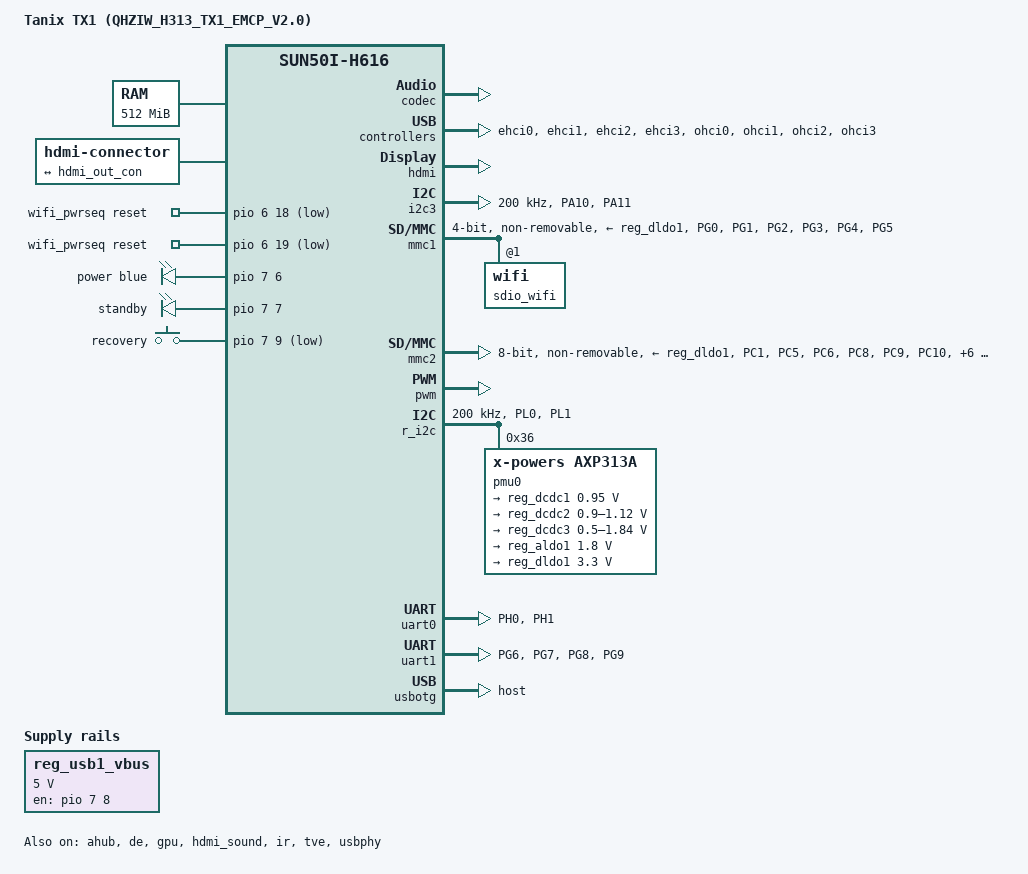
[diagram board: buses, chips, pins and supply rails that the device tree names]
/dts-v1/;

/*
 * Written by tools/dtcx/upstream.py from board.dts: a view, not edited.
 * Over torvalds/linux at c03c1a14507d.
 * Needs, beyond it, found by name and so best-effort: each
 * patch adding a name the tree uses or a dtsi change it keeps, which may in
 * turn need others before it:
 *   patches/linux-sunxi/0204-dt-bindings-display-allwinner-Add-DE33-planes.patch:
 *     "allwinner,sun50i-h616-de33-planes", allwinner,plane-mapping
 *   patches/linux-sunxi/0205-drm-sun4i-Add-DE33-shared-plane-driver.patch:
 *     "allwinner,sun50i-h616-de33-planes", allwinner,plane-mapping
 *   patches/linux-sunxi/0206-dt-bindings-display-allwinner-Split-H616-DE33-layer-.patch:
 *     allwinner,planes
 *   patches/linux-sunxi/0207-drm-sun4i-Switch-DE33-to-split-plane-bindings.patch:
 *     allwinner,planes
 *   patches/linux-sunxi/0208-dt-bindings-display-Add-H616-display-engine-compatib.patch:
 *     "allwinner,sun50i-a64-de2", "allwinner,sun50i-h616-de33",
 *     "allwinner,sun50i-h616-display-engine", "allwinner,sun50i-h616-tcon-tv",
 *     "allwinner,sun50i-h6-dw-hdmi", "allwinner,sun50i-h616-dw-hdmi",
 *     "allwinner,sun50i-h616-hdmi-phy", "allwinner,sun50i-h616-tcon-top"
 *   patches/linux-sunxi/0209-drm-sun4i-Add-support-for-H616-TCON-TOP.patch:
 *     "allwinner,sun50i-h616-tcon-top"
 *   patches/linux-sunxi/0211-drm-sun4i-Add-H616-TCON-TV-support.patch:
 *     "allwinner,sun50i-h616-tcon-tv"
 *   patches/linux-sunxi/0212-drm-sun4i-Add-support-for-H616-HDMI-PHY.patch:
 *     "allwinner,sun50i-h616-hdmi-phy"
 *   patches/linux-sunxi/0213-drm-sun4i-Add-compatible-for-H616-display-engine.patch:
 *     "allwinner,sun50i-h616-display-engine"
 *   patches/linux-sunxi/0237-dt-bindings-display-allwinner-Add-the-DE3-and-DE33-writeback.patch:
 *     "allwinner,sun50i-h616-de33-wb", allwinner,top
 *   patches/linux-sunxi/0238-clk-sunxi-ng-de2-Allow-H616-writeback-routing-regist.patch:
 *     "allwinner,sun50i-h616-de33-wb", allwinner,top
 *   patches/linux-sunxi/0406-drivers-staging-media-sunxi-cedrus-add-H616-variant.patch:
 *     "allwinner,sun50i-h616-video-engine"
 *   patches/linux-sunxi/0424-arm64-dts-allwinner-sun50i-h616-Add-video-engine.patch:
 *     /soc/video-codec@1c0e000
 *   patches/linux-sunxi/0426-media-sunxi-Add-Allwinner-DI300-deinterlace-driver.patch:
 *     "allwinner,sun50i-h616-deinterlace"
 *   patches/linux-sunxi/0435-arm64-dts-allwinner-h616-Add-deinterlace-node.patch:
 *     &deinterlace
 *   patches/linux-sunxi/0503-ASoC-sunxi-add-HDMI-audio-machine-driver.patch:
 *     "allwinner,sun8i-a83t-hdmi-audio"
 *   patches/linux-sunxi/0520-ASoC-sunxi-add-H616-audio-hub-driver.patch:
 *     "allwinner,sun50i-h616-ahub"
 *   patches/linux-sunxi/0700-arm64-dts-allwinner-h616-Add-display-pipeline.patch:
 *     &de, /soc/bus@1000000, &hdmi, &hdmi_out, &hdmi_phy, &tcon_top, &tcon_tv0, &tcon_tv1
 *   patches/linux-sunxi/0702-arm64-dts-allwinner-h616-Add-display-writeback.patch:
 *     &writeback, &planes iommus, &mixer0_out #address-cells, &mixer0_out #size-cells,
 *     &mixer0_out_tcon_top_mixer0, &mixer0_out_writeback, &mixer1_out #address-cells, &mixer1_out
 *     #size-cells, &mixer1_out_tcon_top_mixer1, &mixer1_out_writeback
 *   patches/linux-sunxi/0704-arm64-dts-allwinner-h616-add-audio-hub.patch:
 *     &ahub
 *   patches/linux-sunxi/0705-arm64-dts-allwinner-h616-add-HDMI-audio-topology.patch:
 *     &hdmi_sound, &hdmi #sound-dai-cells
 *   patches/linux-sunxi/0707-arm64-dts-allwinner-h616-Put-mixer-0-behind-the-IOMMU.patch:
 *     &mixer0 iommus
 *   patches/linux-sunxi/0713-pwm-sun20i-modify-for-h616-support.patch:
 *     "allwinner,sun50i-h616-pwm"
 *   patches/linux-sunxi/0714-arm64-dts-allwinner-h616-add-PWM-node.patch:
 *     &pwm
 *   patches/linux-sunxi/0723-arm64-dts-allwinner-h616-Describe-the-AC300-EPHY.patch:
 *     &ephy_config
 *   patches/linux-sunxi/0725-arm64-dts-allwinner-h616-Add-the-TV-encoder.patch:
 *     &tve_calibration, &tcon_tv1_out_tve, &tve
 *   patches/linux-sunxi/0092-watchdog-sunxi_wdt-Keep-the-watchdog-armed-through-system-sleep.patch:
 *     "allwinner,sun8i-a23-timer"
 *   patches/linux-sunxi/next/0043-dt-bindings-mmc-sunxi-Add-allwinner-sample-delay.patch:
 *     allwinner,sample-delay
 *   patches/linux-sunxi/next/0044-mmc-sunxi-take-a-sample-delay-from-the-device-tree.patch:
 *     allwinner,sample-delay
 *   patches/linux-sunxi/0086-dt-bindings-media-rc-Add-the-Tanix-TX1-V2-keymap.patch:
 *     "rc-tanix-tx1-v2"
 *   patches/linux-sunxi/0088-media-rc-keymaps-Add-the-Tanix-TX1-V2-remote.patch:
 *     "rc-tanix-tx1-v2"
 *   patches/linux-sunxi/0089-drm-sun4i-tv-Add-the-H616-TV-encoder.patch:
 *     "allwinner,sun50i-h616-tv-encoder"
 *   patches/linux-sunxi/next/0072-media-cedrus-Rework-the-driver-in-preparation-for-en.patch:
 *     "allwinner,sun50i-h616-video-engine"
 * Left out, the distribution's, not the board's:
 *   /reserved-memory/ramoops@7e000000
 */

#include "sun50i-h616.dtsi"
#include <dt-bindings/clock/sun50i-h616-ccu.h>
#include <dt-bindings/clock/sun6i-rtc.h>
#include <dt-bindings/gpio/gpio.h>
#include <dt-bindings/input/linux-event-codes.h>
#include <dt-bindings/leds/common.h>
#include <dt-bindings/thermal/thermal.h>

/ {
	model = "Tanix TX1 (QHZIW_H313_TX1_EMCP_V2.0)";
	/* board first; the SoC last, which sun50i-cpufreq-nvmem keys on */
	compatible = "tanix-tx1-v2,h313-tvbox", "allwinner,sun50i-h616";

	thermal-zones {
		cpu-thermal {
			cooling-maps {
				map0 {
					trip = <&cpu_target>;
					cooling-device = <&cpu0 THERMAL_NO_LIMIT THERMAL_NO_LIMIT>;
					contribution = <1024>;
				};

				map1 {
					trip = <&cpu_target>;
					cooling-device = <&gpu THERMAL_NO_LIMIT THERMAL_NO_LIMIT>;
					contribution = <1024>;
				};
			};
		};
	};

	/* ethernet0: U-Boot's stable Wi-Fi MAC */
	aliases {
		serial0 = &uart0;
		ethernet0 = &sdio_wifi;
		serial1 = &uart1;
		serial2 = &uart2;
		serial3 = &uart3;
		serial4 = &uart4;
		serial5 = &uart5;
		spi0 = &spi0;
		spi1 = &spi1;
		mmc0 = &mmc0;
		mmc2 = &mmc2;
	};

	chosen {
		stdout-path = "serial0:115200n8";
	};

	cpu_opp_table: opp-table-cpu {
		compatible = "allwinner,sun50i-h616-operating-points";
		nvmem-cells = <&cpu_speed_grade>;
		opp-shared;

		opp-480000000 {
			opp-hz = /bits/ 64 <480000000>;
			opp-microvolt-speed4 = <900000>;
			clock-latency-ns = <244144>;
			opp-supported-hw = <0x10>;
		};

		opp-600000000 {
			opp-hz = /bits/ 64 <600000000>;
			opp-microvolt-speed4 = <900000>;
			clock-latency-ns = <244144>;
			opp-supported-hw = <0x10>;
		};

		opp-792000000 {
			opp-hz = /bits/ 64 <792000000>;
			opp-microvolt-speed4 = <940000>;
			clock-latency-ns = <244144>;
			opp-supported-hw = <0x10>;
		};

		opp-1008000000 {
			opp-hz = /bits/ 64 <1008000000>;
			opp-microvolt-speed4 = <1020000>;
			clock-latency-ns = <244144>;
			opp-supported-hw = <0x10>;
		};

		opp-1200000000 {
			opp-hz = /bits/ 64 <1200000000>;
			opp-microvolt-speed4 = <1100000>;
			clock-latency-ns = <244144>;
			opp-supported-hw = <0x10>;
		};

		opp-1344000000 {
			opp-hz = /bits/ 64 <1344000000>;
			opp-microvolt-speed4 = <1120000>;
			clock-latency-ns = <244144>;
			opp-supported-hw = <0x10>;
		};
	};

	memory@40000000 {
		device_type = "memory";
		reg = <0x00 0x40000000 0x00 0x20000000>;
	};

	gpu_opp_table: opp-table-gpu {
		compatible = "operating-points-v2";

		opp-504000000 {
			opp-hz = /bits/ 64 <504000000>;
			opp-microvolt = <950000>;
		};

		opp-540000000 {
			opp-hz = /bits/ 64 <540000000>;
			opp-microvolt = <950000>;
		};

		opp-576000000 {
			opp-hz = /bits/ 64 <576000000>;
			opp-microvolt = <950000>;
		};

		opp-600000000 {
			opp-hz = /bits/ 64 <600000000>;
			opp-microvolt = <950000>;
		};
	};

	reg_usb1_vbus: usb1-vbus {
		compatible = "regulator-fixed";
		regulator-name = "usb1-vbus";
		regulator-min-microvolt = <5000000>;
		regulator-max-microvolt = <5000000>;
		gpio = <&pio 7 8 GPIO_ACTIVE_HIGH>; /* PH8 */
		enable-active-high;
	};

	connector {
		compatible = "hdmi-connector";
		type = "a";

		port {
			hdmi_con_in: endpoint {
				remote-endpoint = <&hdmi_out_con>;
			};
		};
	};

	/* stock's wlan: 32 kHz on PG10, regon PG18, chip_en PG19, 200 ms */
	wifi_pwrseq: pwrseq {
		compatible = "mmc-pwrseq-simple";
		clocks = <&rtc CLK_OSC32K_FANOUT>;
		clock-names = "ext_clock";
		pinctrl-names = "default";
		pinctrl-0 = <&clk_losc_pins_a>;
		assigned-clocks = <&rtc CLK_OSC32K_FANOUT>;
		assigned-clock-parents = <&ccu CLK_PLL_SYSTEM_32K>;
		reset-gpios = <&pio 6 18 GPIO_ACTIVE_LOW>, <&pio 6 19 GPIO_ACTIVE_LOW>; /* PG18, PG19 */
		post-power-on-delay-ms = <200>;
	};

	leds {
		compatible = "gpio-leds";

		led-0 {
			label = "power";
			function = LED_FUNCTION_POWER;
			color = <LED_COLOR_ID_BLUE>;
			gpios = <&pio 7 6 GPIO_ACTIVE_HIGH>; /* PH6 */
			default-state = "on";
			retain-state-suspended;
			retain-state-shutdown;
		};

		led-1 {
			label = "standby";
			function = LED_FUNCTION_STANDBY;
			gpios = <&pio 7 7 GPIO_ACTIVE_HIGH>; /* PH7 */
			default-state = "off";
			retain-state-suspended;
			retain-state-shutdown;
		};
	};

	/* the recovery button on PH9 (board.md), stock's recovery_key */
	gpio-keys {
		compatible = "gpio-keys";

		key {
			label = "recovery";
			linux,code = <KEY_VENDOR>;
			gpios = <&pio 7 9 GPIO_ACTIVE_LOW>; /* PH9 */
		};
	};
};

&ahub {
	status = "okay";
};

&codec {
	allwinner,audio-routing = "Line Out", "LINEOUT";
	status = "okay";
};

&cpu0 {
	operating-points-v2 = <&cpu_opp_table>;
	dynamic-power-coefficient = <100>;
	cpu-supply = <&reg_dcdc2>;
};

&cpu1 {
	operating-points-v2 = <&cpu_opp_table>;
};

&cpu2 {
	operating-points-v2 = <&cpu_opp_table>;
};

&cpu3 {
	operating-points-v2 = <&cpu_opp_table>;
};

&cpu_critical {
	temperature = <115000>;
};

&de {
	status = "okay";
};

&ehci0 {
	status = "okay";
};

&ehci1 {
	status = "okay";
};

&ehci2 {
	status = "okay";
};

&ehci3 {
	status = "okay";
};

&gpu {
	#cooling-cells = <2>;
	operating-points-v2 = <&gpu_opp_table>;
	mali-supply = <&reg_dcdc1>;
	status = "okay";
};

&hdmi {
	status = "okay";
};

&hdmi_out {
	hdmi_out_con: endpoint {
		remote-endpoint = <&hdmi_con_in>;
	};
};

&hdmi_sound {
	status = "okay";
};

&i2c3 {
	clock-frequency = <200000>;
	pinctrl-names = "default";
	pinctrl-0 = <&twi3_pins_a>;
	status = "okay";
};

&ir {
	pinctrl-0 = <&s_cir0_pins_a>;
	/* the stock remote: the TX3 mini's buttons, as their labels read */
	linux,rc-map-name = "rc-tanix-tx1-v2";
	status = "okay";
};

&mmc1 {
	pinctrl-0 = <&sdc1_pins_a>;
	bus-width = <4>;
	keep-power-in-suspend;
	no-mmc;
	no-sd;
	mmc-pwrseq = <&wifi_pwrseq>;
	non-removable;
	vmmc-supply = <&reg_dldo1>;
	vqmmc-supply = <&reg_dldo1>;
	status = "okay";

	sdio_wifi: wifi@1 {
		reg = <1>;
	};
};

/* the eMMC, which the vendor's U-Boot enables at boot */
&mmc2 {
	pinctrl-0 = <&sdc2_pins_a>, <&sdc2_pins_c>;
	max-frequency = <50000000>;
	bus-width = <8>;
	non-removable;
	no-sdio;
	no-sd;
	mmc-ddr-1_8v;
	/* stock's tuned DDR52 sample delay, sdc_tm4_sm2_freq0 in its runtime tree */
	allwinner,sample-delay = <20>;
	vmmc-supply = <&reg_dldo1>;
	/* the eMMC's bank, PC, measures 3.3 V */
	vqmmc-supply = <&reg_dldo1>;
	status = "okay";
};

&ohci0 {
	status = "okay";
};

&ohci1 {
	status = "okay";
};

&ohci2 {
	status = "okay";
};

&ohci3 {
	status = "okay";
};

&pio {
	input-debounce = <0 0 0 0 0 0 0>;
	/* each bank's rail at the voltage PIO_POW_VAL measures on the box */
	vcc-pc-supply = <&reg_dldo1>;
	vcc-pf-supply = <&reg_dldo1>;
	vcc-pg-supply = <&reg_dldo1>;
	vcc-ph-supply = <&reg_dldo1>;
	vcc-pi-supply = <&reg_dldo1>;

	clk_losc_pins_a: clk-losc-a-pins {
		pins = "PG10";
		function = "clock";
		drive-strength = <30>;
		bias-pull-up;
	};

	s_cir0_pins_a: s-cir0-a-pins {
		pins = "PH10";
		function = "ir_rx";
		drive-strength = <30>;
		bias-pull-up;
	};

	uart1_pins_a: uart1-a-pins {
		pins = "PG6", "PG7", "PG8", "PG9";
		function = "uart1";
		drive-strength = <20>;
		bias-pull-up;
	};

	twi3_pins_a: twi3-a-pins {
		pins = "PA10", "PA11";
		function = "i2c3";
		drive-strength = <20>;
		bias-pull-up;
	};

	sdc1_pins_a: sdc1-a-pins {
		pins = "PG0", "PG1", "PG2", "PG3", "PG4", "PG5";
		function = "mmc1";
		drive-strength = <40>;
		bias-pull-up;
	};

	sdc2_pins_a: sdc2-a-pins {
		pins = "PC1", "PC5", "PC6", "PC8", "PC9", "PC10", "PC11", "PC13", "PC14", "PC15", "PC16";
		function = "mmc2";
		drive-strength = <30>;
		bias-pull-up;
	};

	sdc2_pins_c: sdc2-c-pins {
		pins = "PC0";
		function = "mmc2";
		drive-strength = <30>;
		bias-pull-down;
	};

	uart0_pins_a: uart0-a-pins {
		pins = "PH0", "PH1";
		function = "uart0";
		bias-pull-up;
	};
};

&pwm {
	status = "okay";
};

&r_i2c {
	pinctrl-0 = <&s_twi0_pins_a>;
	clock-frequency = <200000>;
	status = "okay";

	pmu0: pmic@36 {
		compatible = "x-powers,axp313a";
		reg = <0x36>;
		#interrupt-cells = <1>;
		interrupt-controller;

		regulators {
			reg_dcdc1: dcdc1 {
				regulator-name = "axp1530-dcdc1";
				regulator-always-on;
				regulator-min-microvolt = <950000>;
				regulator-max-microvolt = <950000>;
			};

			reg_dcdc2: dcdc2 {
				regulator-name = "axp1530-dcdc2";
				regulator-ramp-delay = <200>;
				regulator-always-on;
				regulator-min-microvolt = <900000>;
				regulator-max-microvolt = <1120000>;
			};

			reg_dcdc3: dcdc3 {
				regulator-name = "axp1530-dcdc3";
				regulator-min-microvolt = <500000>;
				regulator-max-microvolt = <1840000>;
				regulator-always-on;
			};

			reg_aldo1: aldo1 {
				regulator-name = "axp1530-aldo1";
				regulator-always-on;
				regulator-min-microvolt = <1800000>;
				regulator-max-microvolt = <1800000>;
			};

			reg_dldo1: dldo1 {
				regulator-name = "axp1530-dldo1";
				regulator-always-on;
				regulator-min-microvolt = <3300000>;
				regulator-max-microvolt = <3300000>;
			};
		};
	};
};

&r_pio {
	s_twi0_pins_a: s-twi0-a-pins {
		pins = "PL0", "PL1";
		function = "s_i2c";
		drive-strength = <20>;
		bias-pull-up;
	};
};

/* the AV jack's composite output */
&tve {
	status = "okay";
};

&uart0 {
	pinctrl-names = "default";
	pinctrl-0 = <&uart0_pins_a>;
	status = "okay";
};

&uart1 {
	pinctrl-names = "default";
	pinctrl-0 = <&uart1_pins_a>;
	uart-has-rtscts;
	status = "okay";
};

&usbotg {
	dr_mode = "host";
	status = "okay";
};

&usbphy {
	usb1_vbus-supply = <&reg_usb1_vbus>;
	status = "okay";
};
